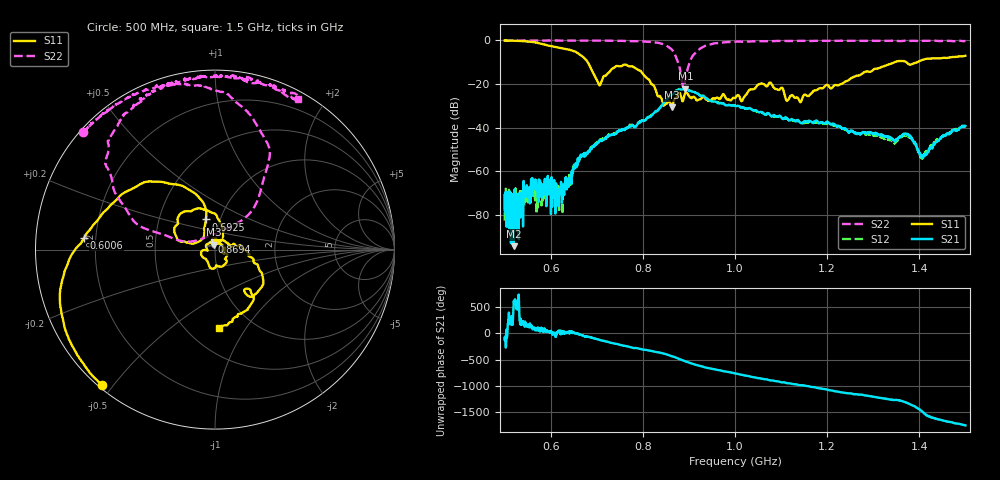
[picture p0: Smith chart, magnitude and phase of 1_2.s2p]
!Agilent Technologies,E8364B,US42250235,A.06.04.32
!Agilent E8364B: A.06.04.32
!Date: Friday, January 15, 2021 14:42:31
!Correction: S11(Full 2 Port(1,2)) S21(Full 2 Port(1,2)) S12(Full 2 Port(1,2)) S22(Full 2 Port(1,2))
!S2P File: Measurements: S11, S21, S12, S22:
# Hz S  dB  R 50
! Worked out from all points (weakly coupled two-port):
!   1601 points, 500 MHz to 1.5 GHz, reference 50 ohm
!   highest |S21| = -22.18 dB at 892.5 MHz (marker M1); lowest = -94.3 dB at 519.4 MHz (marker M2)
!   lowest |S11| = -30.7 dB at 863.1 MHz (marker M3), VSWR 1.06, Z = 49.1 + j2.78 ohm
!   |S11| at or under -10 dB: 680.1 MHz to 1.347 GHz (667.1 MHz wide, 65.8 % of centre); 1.371 GHz to 1.397 GHz (25.35 MHz wide, 1.83 % of centre)
!   |S22| runs from -21.5 to -0.1 dB; largest |S21 - S12| = 0.0079
!   S11 on the Smith chart (normalised r, x): 500 MHz: 0.01, -0.47; 600.6 MHz: 0.16, +0.04; 692.5 MHz: 0.86, +0.30; 869.4 MHz: 0.96, +0.08; 1.5 GHz: 0.70, -0.76
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5e8  -0.14 -129.7  -70.97 -82.8  -82.59 144.7  -0.14 138.3
5.19375e8  -0.26 -138.8  -94.26 153.3  -72.15 -145.7  -0.14 135.7
5.625e8  -0.87 -163.0  -67.01 95.7  -69.03 126.4  -0.16 132.5
6.00625e8  -2.71 174.8  -79.66 50.1  -67.27 35.3  -0.20 129.1
6.15e8  -3.32 167.1  -75.51 29.1  -66.59 10.8  -0.15 127.6
6.66875e8  -7.15 123.6  -53.00 -28.3  -53.04 -19.2  -0.19 121.2
6.925e8  -15.10 106.9  -48.64 -91.8  -48.34 -78.9  -0.22 117.9
7.0625e8  -20.71 139.9  -45.71 -121.8  -45.88 -112.2  -0.25 117.2
7.775e8  -12.04 113.7  -39.02 87.8  -38.91 93.3  -0.47 103.5
8.3375e8  -25.77 70.1  -31.83 0.4  -31.72 4.9  -1.22 85.1
8.63125e8  -30.66 105.6  -25.01 -75.0  -24.94 -68.7  -4.35 59.8
8.69375e8  -26.84 113.4  -23.82 -90.9  -23.64 -85.5  -6.46 55.3
8.925e8  -24.15 95.1  -22.18 -172.1  -22.02 -167.1  -17.44 159.9
9.23125e8  -27.07 56.9  -25.32 101.2  -25.05 105.8  -4.06 151.2
1e9  -26.50 -7.2  -30.13 -40.9  -29.85 -36.2  -0.76 119.8
1.05625e9  -19.82 -63.9  -32.80 -138.0  -32.99 -135.6  -0.46 111.5
1.11375e9  -27.68 -174.2  -35.92 132.1  -36.10 136.9  -0.38 103.6
1.166875e9  -24.03 53.1  -37.47 60.5  -37.95 68.1  -0.36 97.0
1.33375e9  -11.08 -25.7  -44.22 -173.5  -45.52 -163.2  -0.30 78.8
1.375625e9  -10.76 -55.1  -43.53 107.3  -43.84 119.0  -0.32 76.0
1.40875e9  -8.87 -54.7  -53.33 -64.7  -53.68 -69.1  -0.30 71.4
1.5e9  -7.14 -87.2  -39.24 48.2  -39.36 55.6  -0.36 61.2
